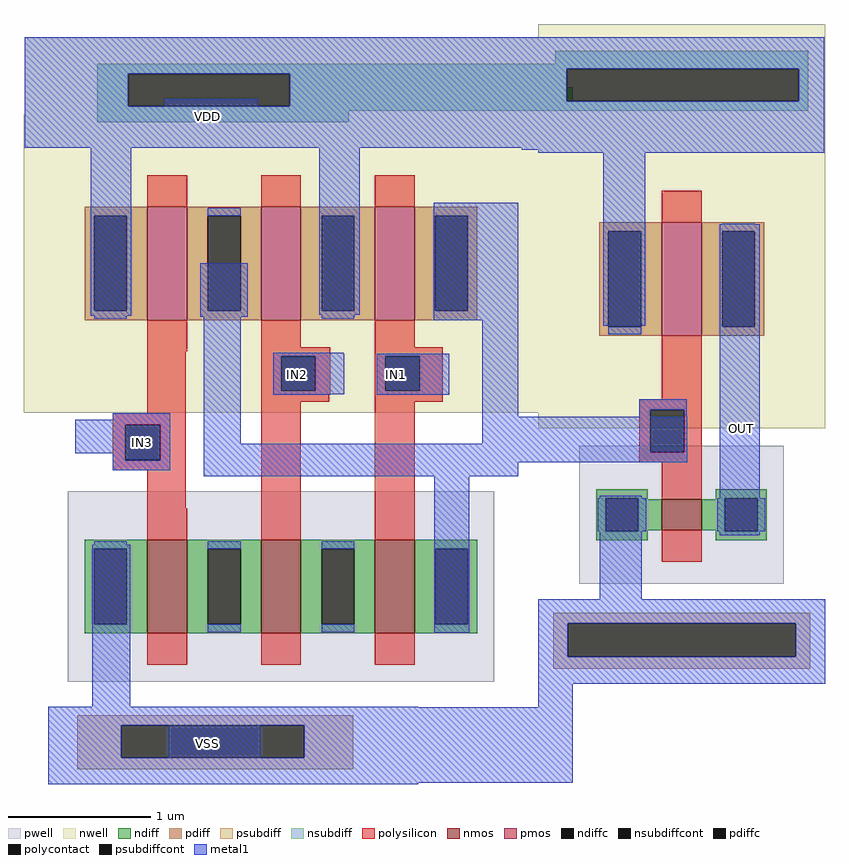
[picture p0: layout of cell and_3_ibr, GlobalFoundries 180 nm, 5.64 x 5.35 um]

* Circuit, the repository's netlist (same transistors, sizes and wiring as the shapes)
* NGSPICE file created from and_3_ibr.ext - technology: gf180mcuC

.subckt pmos_3p3_MQGBLR a_n28_n124# a_n116_n80# a_28_n80# w_n202_n210#
X0 a_28_n80# a_n28_n124# a_n116_n80# w_n202_n210# pfet_03v3 ad=0.352p pd=2.48u as=0.352p ps=2.48u w=0.8u l=0.28u
.ends

.subckt nmos_3p3_DDNVWA a_n120_n36# a_28_n22# a_n28_n66# VSUBS
X0 a_28_n22# a_n28_n66# a_n120_n36# VSUBS nfet_03v3 ad=0.152p pd=1.64u as=0.152p ps=1.64u w=0.22u l=0.28u
.ends

.subckt nverterlayout_ibr VDD VSS OUT IN
Xpmos_3p3_MQGBLR_0 IN VDD OUT VDD pmos_3p3_MQGBLR
Xnmos_3p3_DDNVWA_0 VSS OUT IN VSS nmos_3p3_DDNVWA
.ends

.subckt nmos_3p3_VGTVWA a_n116_n66# a_28_n66# a_n28_n110# VSUBS
X0 a_28_n66# a_n28_n110# a_n116_n66# VSUBS nfet_03v3 ad=0.29p pd=2.2u as=0.29p ps=2.2u w=0.66u l=0.28u
.ends

.subckt pmos_3p3_M8SWPS a_n28_n124# a_n116_n80# a_28_n80# w_n202_n210#
X0 a_28_n80# a_n28_n124# a_n116_n80# w_n202_n210# pfet_03v3 ad=0.352p pd=2.48u as=0.352p ps=2.48u w=0.8u l=0.28u
.ends

.subckt nand3_mag_ibr IN3 IN2 IN1 VDD VSS OUT
Xnmos_3p3_VGTVWA_0 nmos_3p3_VGTVWA_1/a_28_n66# nmos_3p3_VGTVWA_0/a_28_n66# IN2 VSS
+ nmos_3p3_VGTVWA
Xnmos_3p3_VGTVWA_1 VSS nmos_3p3_VGTVWA_1/a_28_n66# IN3 VSS nmos_3p3_VGTVWA
Xnmos_3p3_VGTVWA_2 nmos_3p3_VGTVWA_0/a_28_n66# OUT IN1 VSS nmos_3p3_VGTVWA
Xpmos_3p3_M8SWPS_0 IN1 VDD OUT VDD pmos_3p3_M8SWPS
Xpmos_3p3_M8SWPS_1 IN3 VDD OUT VDD pmos_3p3_M8SWPS
Xpmos_3p3_M8SWPS_2 IN2 OUT VDD VDD pmos_3p3_M8SWPS
.ends

.subckt and_3_ibr IN2 IN3 VSS VDD OUT IN1
Xnverterlayout_ibr_0 VDD VSS OUT nand3_mag_ibr_0/OUT nverterlayout_ibr
Xnand3_mag_ibr_0 IN3 IN2 IN1 VDD VSS nand3_mag_ibr_0/OUT nand3_mag_ibr
.ends

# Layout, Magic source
magic
tech gf180mcuC
magscale 1 10
<< nwell >>
rect 445 976 763 1014
rect 458 549 459 606
rect 505 548 506 605
<< nsubdiff >>
rect 445 981 763 1014
rect 438 948 781 981
<< metal1 >>
rect 709 1014 751 1016
rect 445 976 763 1014
rect 206 921 337 965
rect 709 893 751 976
rect 365 552 421 601
rect 458 549 459 606
rect 505 548 506 605
rect 514 552 570 601
rect 150 457 203 506
rect 658 453 942 517
rect 988 469 1044 537
rect 732 108 781 163
rect 212 34 341 85
rect 559 2 781 108
use nand3_mag_ibr  nand3_mag_ibr_0
transform 1 0 70 0 1 188
box -62 -188 662 863
use nverterlayout_ibr  nverterlayout_ibr_0
transform 1 0 820 0 1 -79
box -88 220 316 1149
<< labels >>
flabel metal1 393 576 393 576 0 FreeSans 480 0 0 0 IN2
port 1 nsew
flabel metal1 175 481 175 481 0 FreeSans 480 0 0 0 IN3
port 2 nsew
flabel metal1 266 57 266 57 0 FreeSans 480 0 0 0 VSS
port 3 nsew
flabel metal1 266 940 266 940 0 FreeSans 480 0 0 0 VDD
port 4 nsew
flabel metal1 1019 501 1019 501 0 FreeSans 480 0 0 0 OUT
port 5 nsew
flabel metal1 533 577 533 577 0 FreeSans 480 0 0 0 IN1
port 6 nsew
<< end >>

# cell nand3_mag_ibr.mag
magic
tech gf180mcuC
magscale 1 10
<< nwell >>
rect -61 708 662 863
rect -61 682 500 708
rect 485 418 528 421
rect 295 365 304 418
rect 345 366 354 417
rect 386 361 388 418
rect 436 417 537 418
rect 435 414 484 417
rect 485 414 529 417
rect 435 365 447 414
rect 435 360 436 365
rect 485 364 528 414
<< psubdiff >>
rect 13 -105 402 -91
rect 13 -151 75 -105
rect 333 -151 402 -105
rect 13 -167 402 -151
<< nsubdiff >>
rect 41 812 395 826
rect 41 766 85 812
rect 312 766 395 812
rect 41 744 395 766
<< psubdiffcont >>
rect 75 -151 333 -105
<< nsubdiffcont >>
rect 85 766 312 812
<< polysilicon >>
rect 289 421 369 427
rect 112 334 166 421
rect 63 318 166 334
rect 63 268 81 318
rect 130 268 166 318
rect 63 254 166 268
rect 112 200 166 254
rect 272 414 369 421
rect 272 366 300 414
rect 348 366 369 414
rect 272 360 369 366
rect 432 414 528 427
rect 432 366 447 414
rect 495 366 528 414
rect 272 350 368 360
rect 432 350 528 366
rect 272 200 328 350
rect 432 200 488 350
<< polycontact >>
rect 81 268 130 318
rect 300 366 348 414
rect 447 366 495 414
<< metal1 >>
rect -61 812 662 863
rect -61 766 85 812
rect 312 766 662 812
rect -61 708 662 766
rect 32 471 89 708
rect 186 470 253 545
rect 354 473 411 708
rect 63 325 144 334
rect 10 318 144 325
rect 10 278 81 318
rect 63 268 81 278
rect 130 268 144 318
rect 63 254 144 268
rect 191 291 243 470
rect 515 465 634 630
rect 289 414 388 419
rect 289 366 300 414
rect 348 366 388 414
rect 289 361 388 366
rect 436 414 537 418
rect 436 366 447 414
rect 495 366 537 414
rect 289 360 369 361
rect 436 360 537 366
rect 583 291 634 465
rect 191 245 634 291
rect 34 -79 88 149
rect 516 25 565 245
rect -28 -105 493 -79
rect -28 -151 75 -105
rect 333 -151 493 -105
rect -28 -188 493 -151
use nmos_3p3_VGTVWA  nmos_3p3_VGTVWA_0
transform 1 0 300 0 1 90
box -140 -134 140 134
use nmos_3p3_VGTVWA  nmos_3p3_VGTVWA_1
transform 1 0 140 0 1 90
box -140 -134 140 134
use nmos_3p3_VGTVWA  nmos_3p3_VGTVWA_2
transform 1 0 460 0 1 90
box -140 -134 140 134
use pmos_3p3_M8SWPS  pmos_3p3_M8SWPS_0
transform 1 0 460 0 1 545
box -202 -210 202 210
use pmos_3p3_M8SWPS  pmos_3p3_M8SWPS_1
transform 1 0 140 0 1 545
box -202 -210 202 210
use pmos_3p3_M8SWPS  pmos_3p3_M8SWPS_2
transform 1 0 300 0 1 545
box -202 -210 202 210
<< labels >>
flabel metal1 30 300 30 300 0 FreeSans 320 0 0 0 IN3
port 0 nsew
flabel metal1 380 380 380 380 0 FreeSans 320 0 0 0 IN2
port 1 nsew
flabel metal1 530 390 530 390 0 FreeSans 320 0 0 0 IN1
port 2 nsew
flabel psubdiffcont 200 -130 200 -130 0 FreeSans 320 0 0 0 VSS
port 4 nsew
flabel metal1 620 290 620 290 0 FreeSans 320 0 0 0 OUT
port 5 nsew
flabel nsubdiffcont 200 788 200 788 0 FreeSans 320 0 0 0 VDD
port 3 nsew
<< end >>

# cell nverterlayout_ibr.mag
magic
tech gf180mcuC
magscale 1 10
<< nwell >>
rect -88 1000 316 1149
rect -88 968 315 1000
rect 4 724 63 960
rect 64 612 121 621
<< pwell >>
rect 64 534 121 540
rect 54 532 121 534
<< psubdiff >>
rect -67 305 295 320
rect -67 258 -46 305
rect 275 258 295 305
rect -67 241 295 258
<< nsubdiff >>
rect -64 1086 292 1111
rect -64 1040 -48 1086
rect 279 1040 292 1086
rect -64 1027 292 1040
<< psubdiffcont >>
rect -46 258 275 305
<< nsubdiffcont >>
rect -48 1040 279 1086
<< polysilicon >>
rect 86 621 142 672
rect 54 606 142 621
rect 54 546 70 606
rect 118 546 142 606
rect 54 532 142 546
rect 86 524 142 532
<< polycontact >>
rect 70 546 118 606
<< metal1 >>
rect -88 1086 315 1130
rect -88 1040 -48 1086
rect 279 1040 315 1086
rect -88 968 315 1040
rect 4 724 63 968
rect 54 606 121 621
rect 54 596 70 606
rect 53 546 70 596
rect 118 546 121 606
rect 53 532 121 546
rect -1 339 58 485
rect 168 429 224 867
rect -88 305 316 339
rect -88 258 -46 305
rect 275 258 316 305
rect -88 220 316 258
use nmos_3p3_DDNVWA  nmos_3p3_DDNVWA_0
transform 1 0 114 0 1 458
box -144 -97 144 97
use pmos_3p3_MQGBLR  pmos_3p3_MQGBLR_0
transform 1 0 114 0 1 790
box -202 -210 202 210
<< labels >>
flabel nsubdiffcont 116 1065 116 1065 0 FreeSans 480 0 0 0 VDD
port 0 nsew
flabel psubdiffcont 113 283 113 283 0 FreeSans 480 0 0 0 VSS
port 1 nsew
flabel metal1 194 631 194 631 0 FreeSans 480 0 0 0 OUT
port 2 nsew
flabel polycontact 92 575 92 575 0 FreeSans 480 0 0 0 IN
port 3 nsew
<< end >>

# cell nmos_3p3_DDNVWA: kit device nmos_3p3, w 0.220 l 0.280 m 1 nf 1 diffcov 100 polycov 100 guard 0 glc 0 grc 0 gtc 0 gbc 0 tbcov 100 rlcov 100 topc 0 botc 0 poverlap 0 doverlap 1 lmin 0.28 wmin 0.22 full_metal 0 compatible {nmos_3p3 nmos_6p0 nmos_6p0_nat}

# cell pmos_3p3_MQGBLR: kit device pmos_3p3, w 0.8 l 0.280 m 1 nf 1 diffcov 100 polycov 100 guard 0 glc 0 grc 0 gtc 0 gbc 0 tbcov 100 rlcov 100 topc 0 botc 0 poverlap 0 doverlap 1 lmin 0.28 wmin 0.22 full_metal 0 compatible {pmos_3p3 pmos_6p0}

# cell nmos_3p3_VGTVWA: kit device nmos_3p3, w 0.660 l 0.280 m 1 nf 1 diffcov 100 polycov 100 guard 0 glc 0 grc 0 gtc 0 gbc 0 tbcov 100 rlcov 100 topc 0 botc 0 poverlap 0 doverlap 1 lmin 0.28 wmin 0.22 full_metal 0 compatible {nmos_3p3 nmos_6p0 nmos_6p0_nat}

# cell pmos_3p3_M8SWPS: kit device pmos_3p3, w 0.80 l 0.280 m 1 nf 1 diffcov 100 polycov 100 guard 0 glc 0 grc 0 gtc 0 gbc 0 tbcov 100 rlcov 100 topc 0 botc 0 poverlap 0 doverlap 1 lmin 0.28 wmin 0.22 full_metal 0 compatible {pmos_3p3 pmos_6p0}
